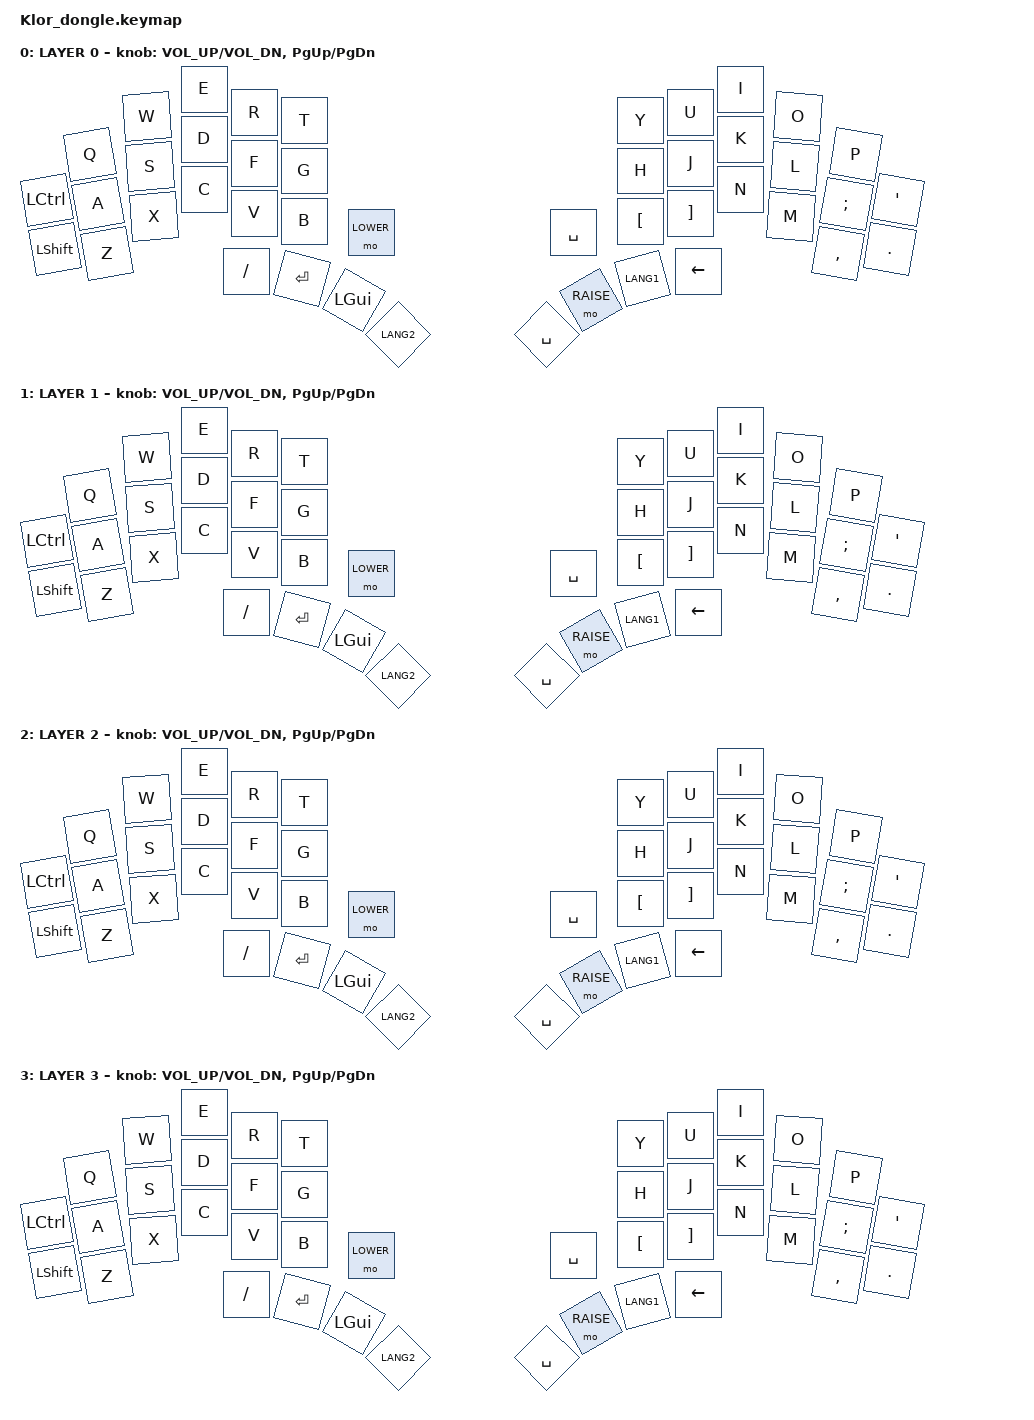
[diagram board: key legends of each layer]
/*
 * Copyright (c) 2020 The ZMK Contributors
 *
 * SPDX-License-Identifier: MIT
 */
/*Just lay at here as a defualt keymap*/
 #include <behaviors.dtsi>
 #include <dt-bindings/zmk/keys.h>
 #include <dt-bindings/zmk/bt.h>
 #include <dt-bindings/zmk/rgb.h>
 #include <dt-bindings/zmk/ext_power.h>
 #include <dt-bindings/zmk/outputs.h>

 #define DEFAULT 0
 #define LOWER  1
 #define RAISE  2
 #define ADJUST 3

/ {
       keymap {
              compatible = "zmk,keymap";

              default_layer {
                     bindings = <
                  &kp Q   &kp W    &kp E    &kp R     &kp T                                &kp Y     &kp U     &kp I     &kp O      &kp P     
       &kp LCTRL  &kp A   &kp S    &kp D    &kp F     &kp G                                &kp H     &kp J     &kp K     &kp L      &kp SEMI  &kp SQT
       &kp LSHFT  &kp Z   &kp X    &kp C    &kp V     &kp B     &kp LBKT         &kp RBKT  &kp N     &kp M     &kp COMMA &kp PERIOD &kp SLASH &kp RET
                                   &kp LGUI &kp LANG2 &mo LOWER &kp SPACE        &kp SPACE &mo RAISE &kp LANG1 &kp LEFT 
                     >;
                sensor-bindings = <&inc_dec_kp C_VOL_UP C_VOL_DN &inc_dec_kp PG_UP PG_DN>;
                display-name = "LAYER 0";
              };
              lower_layer {
                     bindings = <
                  &kp Q   &kp W    &kp E    &kp R     &kp T                                &kp Y     &kp U     &kp I     &kp O      &kp P     
       &kp LCTRL  &kp A   &kp S    &kp D    &kp F     &kp G                                &kp H     &kp J     &kp K     &kp L      &kp SEMI  &kp SQT
       &kp LSHFT  &kp Z   &kp X    &kp C    &kp V     &kp B     &kp LBKT         &kp RBKT  &kp N     &kp M     &kp COMMA &kp PERIOD &kp SLASH &kp RET
                                   &kp LGUI &kp LANG2 &mo LOWER &kp SPACE        &kp SPACE &mo RAISE &kp LANG1 &kp LEFT 
                     >;
                sensor-bindings = <&inc_dec_kp C_VOL_UP C_VOL_DN &inc_dec_kp PG_UP PG_DN>;
                display-name = "LAYER 1";
              };
              raise_layer {
                     bindings = <
                  &kp Q   &kp W    &kp E    &kp R     &kp T                                &kp Y     &kp U     &kp I     &kp O      &kp P     
       &kp LCTRL  &kp A   &kp S    &kp D    &kp F     &kp G                                &kp H     &kp J     &kp K     &kp L      &kp SEMI  &kp SQT
       &kp LSHFT  &kp Z   &kp X    &kp C    &kp V     &kp B     &kp LBKT         &kp RBKT  &kp N     &kp M     &kp COMMA &kp PERIOD &kp SLASH &kp RET
                                   &kp LGUI &kp LANG2 &mo LOWER &kp SPACE        &kp SPACE &mo RAISE &kp LANG1 &kp LEFT 
                     >;
                sensor-bindings = <&inc_dec_kp C_VOL_UP C_VOL_DN &inc_dec_kp PG_UP PG_DN>;
                display-name = "LAYER 2";
              };
              adjust_layer {
                     bindings = <
                  &kp Q   &kp W    &kp E    &kp R     &kp T                                &kp Y     &kp U     &kp I     &kp O      &kp P     
       &kp LCTRL  &kp A   &kp S    &kp D    &kp F     &kp G                                &kp H     &kp J     &kp K     &kp L      &kp SEMI  &kp SQT
       &kp LSHFT  &kp Z   &kp X    &kp C    &kp V     &kp B     &kp LBKT         &kp RBKT  &kp N     &kp M     &kp COMMA &kp PERIOD &kp SLASH &kp RET
                                   &kp LGUI &kp LANG2 &mo LOWER &kp SPACE        &kp SPACE &mo RAISE &kp LANG1 &kp LEFT     
                     >;
                sensor-bindings = <&inc_dec_kp C_VOL_UP C_VOL_DN &inc_dec_kp PG_UP PG_DN>;
                display-name = "LAYER 3";
              };
        extra1 {
            status = "reserved";
                display-name = "LAYER 4";
        };
        extra2 {
            status = "reserved";
                display-name = "LAYER 5";
        };
        extra3 {
            status = "reserved";
                display-name = "LAYER 6";
        };
        extra4 {
            status = "reserved";
                display-name = "LAYER 7";
        };
    };
};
